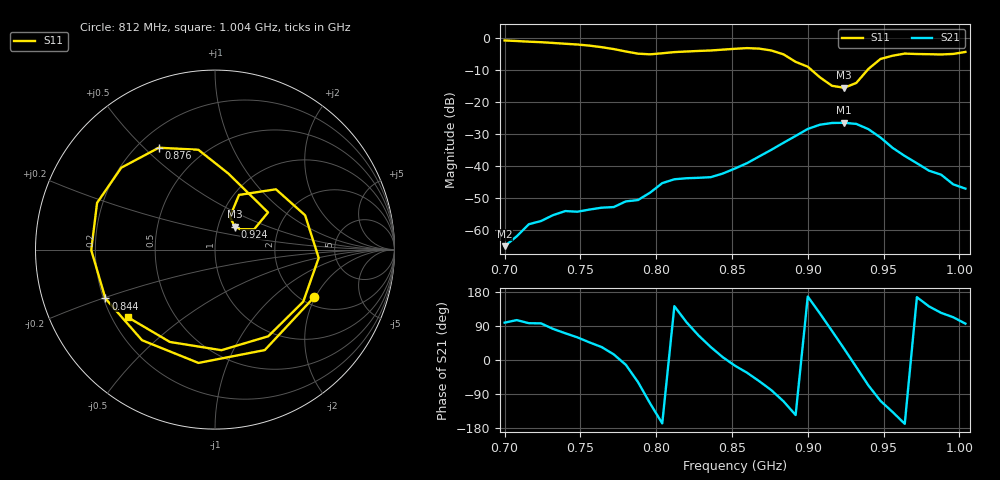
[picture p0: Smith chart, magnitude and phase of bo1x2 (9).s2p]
# Hz S RI R 50
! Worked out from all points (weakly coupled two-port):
!   39 points, 700 MHz to 1.004 GHz, reference 50 ohm
!   highest |S21| = -26.45 dB at 924 MHz (marker M1); lowest = -65.2 dB at 700 MHz (marker M2)
!   lowest |S11| = -15.4 dB at 924 MHz (marker M3), VSWR 1.41, Z = 60.1 + j15.9 ohm
!   |S11| at or under -10 dB: 902.8 MHz to 939.2 MHz (36.43 MHz wide, 3.96 % of centre)
!   S12 and S22 are empty: the file has one direction only
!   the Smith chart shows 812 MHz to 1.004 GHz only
!   S11 on the Smith chart (normalised r, x): 812 MHz: 2.29, -1.95; 844 MHz: 0.21, -0.20; 876 MHz: 0.28, +0.55; 924 MHz: 1.20, +0.32; 1.004 GHz: 0.26, -0.32
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7e8  0.7485 0.5546  -8.24e-05 0.000546  0 0  0 0
7.24e8  0.8432 -0.2334  -0.000159 0.00136  0 0  0 0
7.4e8  0.4616 -0.6857  0.000652 0.00185  0 0  0 0
7.56e8  -0.1821 -0.7511  0.00143 0.0015  0 0  0 0
7.72e8  -0.6505 -0.2058  0.00219 0.000579  0 0  0 0
7.8e8  -0.5869 0.2153  0.00272 -0.000615  0 0  0 0
7.88e8  -0.2459 0.5233  0.00154 -0.00249  0 0  0 0
7.96e8  0.2281 0.5162  -0.00159 -0.00348  0 0  0 0
8.04e8  0.5586 0.1783  -0.00525 -0.00118  0 0  0 0
8.12e8  0.5507 -0.2668  -0.00488 0.00381  0 0  0 0
8.28e8  -0.0921 -0.6314  0.00281 0.00589  0 0  0 0
8.44e8  -0.6107 -0.2721  0.00756 0.000953  0 0  0 0
8.52e8  -0.6895 -0.00295  0.00882 -0.00238  0 0  0 0
8.76e8  -0.313 0.5676  0.00321 -0.0177  0 0  0 0
9e8  0.2955 0.2073  -0.0372 0.00825  0 0  0 0
9.08e8  0.2183 0.1133  -0.0242 0.0373  0 0  0 0
9.24e8  0.1098 0.1283  0.0414 0.0236  0 0  0 0
9.4e8  0.134 0.3048  0.0147 -0.0349  0 0  0 0
9.56e8  0.5021 0.1912  -0.0141 -0.013  0 0  0 0
9.64e8  0.5778 -0.0464  -0.0141 -0.00287  0 0  0 0
9.8e8  0.2968 -0.4829  -0.0066 0.00526  0 0  0 0
1.004e9  -0.487 -0.376  -0.000458 0.0044  0 0  0 0
